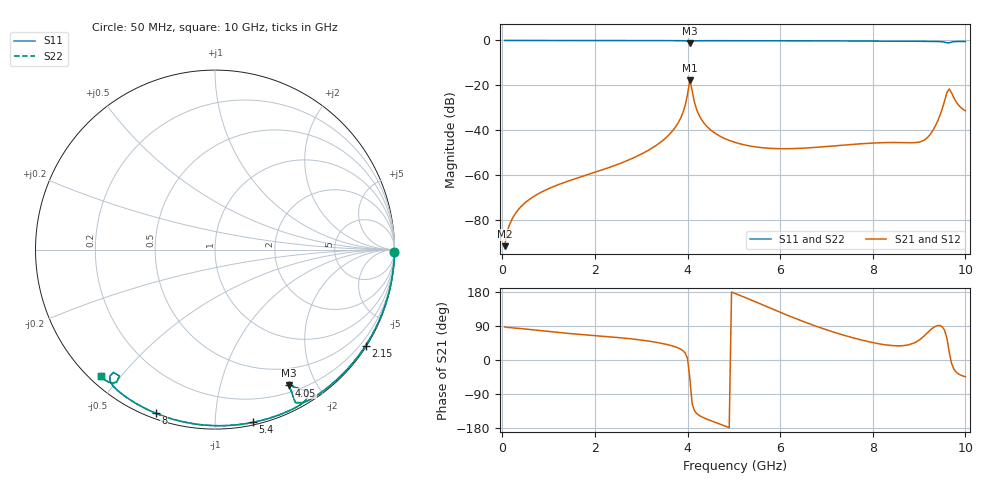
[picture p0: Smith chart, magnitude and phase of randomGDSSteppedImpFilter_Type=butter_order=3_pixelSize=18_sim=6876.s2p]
! freq	dB(S11)	phase(S11)	dB(S12)	phase(S12)
!  dB(S21)	phase(S21)	dB(S22)	phase(S22)
!S-par simulation data
#  GHz  S  DB  R 50
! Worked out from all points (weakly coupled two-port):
!   200 points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, 50 MHz to 10 GHz, reference 50 ohm
!   highest |S21| = -17.71 dB at 4.05 GHz (marker M1); lowest = -91.8 dB at 50 MHz (marker M2)
!   lowest |S11| = -1.3 dB at 4.05 GHz (marker M3), VSWR 13.50, Z = 14 - j82.5 ohm
!   |S11| at or under -10 dB: nowhere
!   |S22| runs from -1.3 to 0.0 dB; largest |S21 - S12| = 0
!   S11 on the Smith chart (normalised r, x): 50 MHz: open; 2.15 GHz: 0.03, -3.42; 4.05 GHz: 0.28, -1.65; 5.4 GHz: 0.02, -1.24; 8 GHz: 0.02, -0.70; 10 GHz: 0.03, -0.44
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0.05  -0.00 -0.8  -91.80 87.6  -91.80 87.6  -0.00 -0.8
0.2  -0.00 -3.1  -80.15 85.1  -80.15 85.1  -0.00 -3.1
0.45  -0.01 -6.9  -73.21 82.2  -73.21 82.2  -0.01 -6.9
0.8  -0.01 -12.3  -68.15 77.7  -68.15 77.7  -0.01 -12.3
1.75  -0.03 -26.6  -60.51 66.7  -60.51 66.7  -0.03 -26.6
2.15  -0.04 -32.6  -57.80 62.8  -57.80 62.8  -0.04 -32.6
3.4  -0.07 -50.9  -45.69 44.9  -45.69 44.9  -0.07 -50.9
3.85  -0.10 -57.9  -34.70 28.7  -34.70 28.7  -0.10 -57.9
3.95  -0.16 -60.3  -28.95 18.3  -28.95 18.3  -0.16 -60.3
4.05  -1.29 -61.4  -17.71 -48.3  -17.71 -48.3  -1.29 -61.4
4.1  -0.46 -56.6  -22.45 -115.8  -22.45 -115.8  -0.46 -56.6
4.2  -0.14 -60.1  -30.99 -141.4  -30.99 -141.4  -0.14 -60.1
4.35  -0.11 -62.9  -36.72 -152.5  -36.72 -152.5  -0.11 -62.9
5.05  -0.11 -72.9  -45.64 174.4  -45.64 174.4  -0.11 -72.9
5.4  -0.13 -77.5  -47.29 157.0  -47.29 157.0  -0.13 -77.5
6.7  -0.18 -94.1  -47.81 92.5  -47.81 92.5  -0.18 -94.1
8  -0.27 -110.0  -45.79 45.9  -45.79 45.9  -0.27 -110.0
8.35  -0.30 -114.2  -45.55 38.8  -45.55 38.8  -0.30 -114.2
9.15  -0.39 -123.9  -43.86 68.3  -43.86 68.3  -0.39 -123.8
9.4  -0.48 -127.3  -36.03 90.8  -36.03 90.8  -0.48 -127.3
9.65  -1.08 -127.1  -21.64 21.8  -21.64 21.8  -1.08 -127.1
10  -0.44 -132.1  -31.41 -44.2  -31.41 -44.2  -0.44 -132.1
